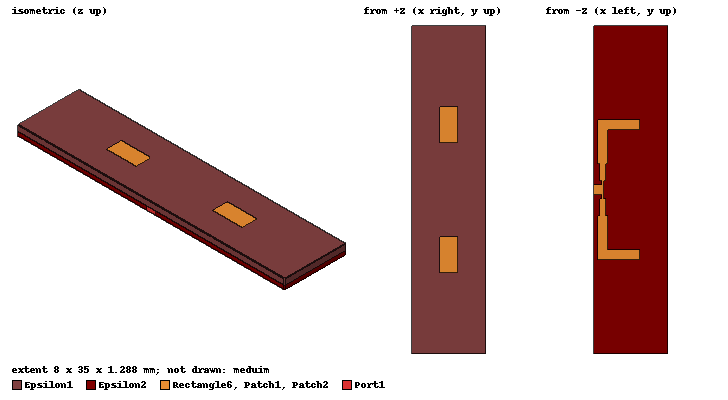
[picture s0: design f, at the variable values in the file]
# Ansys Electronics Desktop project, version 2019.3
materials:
  vacuum: permittivity=1
  Rogers RO3003 (tm): permittivity=3 dielectric_loss_tangent=0.0013
  FR4_epoxy: permittivity=4.4 dielectric_loss_tangent=0.02
  Rogers RO4350 (tm): permittivity=3.66 dielectric_loss_tangent=0.004
  air: permittivity=1.0006 permeability=1.0000004
  copper: permeability=0.999991 conductivity=58000000

design f (HFSS, DrivenModal, model units mm)
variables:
  SL = 5mm
  SLL = 10mm
  S = 5.77mm
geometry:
  Ground = rectangle(corner=((-8/2) mm, (-35/2) mm, 0.508mm), x_size=8mm, y_size=35mm)
  Slot = rectangle(corner=((-0.3/2) mm, -(SLL/2+0.75mm), 0.508mm), x_size=0.3mm, y_size=-2.4mm)
  Ground.subtract(Slot)
  Epsilon2 [Rogers RO4350 (tm)] = box(corner=((-8/2) mm, (-35/2) mm, 0mm), size=(8mm, 35mm, 0.508mm))
  Epsilon1 [Rogers RO4350 (tm)] = box(corner=((-8/2) mm, (-35/2) mm, 0.508mm), size=(8mm, 35mm, 0.78mm))
  Patch1 = rectangle(corner=((-1.96/2) mm, -SLL/2, (0.508+0.78) mm), x_size=1.96mm, y_size=-3.9mm)
  Port1 = rectangle(corner=((8/2) mm, (-1.09/2) mm, 0mm), y_size=1.09mm, z_size=0.508mm)
  meduim [air] = box(corner=((-10/2) mm, (-40/2) mm, (-5/2) mm), size=(10mm, 40mm, 5mm))
  Patch2 = rectangle(corner=((-1.96/2) mm, SLL/2, (0.508+0.78) mm), x_size=1.96mm, y_size=3.9mm)
  Slot1 = rectangle(corner=((-0.3/2) mm, SLL/2+0.75mm, 0.508mm), x_size=0.3mm, y_size=2.4mm)
  Ground.subtract(Slot1)
  feeding = rectangle(corner=((9.2/2-1.5) mm, (-1.112/2) mm, 0mm), x_size=0.9mm, y_size=1.112mm)
  split1 = rectangle(corner=((4.33-1.5) mm, 0mm, 0mm), x_size=0.277726mm, y_size=1mm)
  split2 = rectangle(corner=((4.33-1.5) mm, 0mm, 0mm), x_size=0.277726mm, y_size=-1mm)
  split2.unite(split1, feeding)
  Rectangle1 = rectangle(corner=((4.607726-1.5+0.604502/2-0.277726/2) mm, -1mm, 0mm), x_size=-0.604502mm, y_size=-1.744807mm)
  Rectangle2 = rectangle(corner=((9.2/2-1.5+0.604502/2-0.277726/2) mm, 1mm, 0mm), x_size=-0.604502mm, y_size=1.744807mm)
  Rectangle3 = rectangle(corner=((4.771114+0.302251-1.5) mm, -2.744807mm, 0mm), x_size=-1.11mm, y_size=-SLL/2+1.349807mm)
  Rectangle4 = rectangle(corner=((4.771114+0.302251-1.5) mm, 2.744807mm, 0mm), x_size=-1.11mm, y_size=SLL/2-1.349807mm)
  Rectangle5 = rectangle(corner=(5.073365mm-1.5mm, -(SLL/2+1.395mm), 0), x_size=(-5.073365-1.96/2+1.5) mm, y_size=-1.11mm)
  Rectangle6 = rectangle(corner=(5.073365mm-1.5mm, (SLL/2+1.395mm), 0), x_size=(-5.073365-1.96/2+1.5) mm, y_size=1.11mm)
  Rectangle6.unite(Rectangle5, Rectangle4, Rectangle3, Rectangle2, Rectangle1, split2)
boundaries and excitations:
  Rad1: Radiation Objects=meduim
  PerfE1: Perfect E Objects=Rectangle6
  PerfE2: Perfect E Objects=Patch1
  PerfE3: Perfect E Objects=Patch2
  PerfE4: Perfect E Objects=Ground
  1: Lumped Port Objects=Port1 Modes{Mode1{IntLine{middle of Port1.edge(z at corner) -> middle of Port1.edge(z opposite corner)} CharImp=Zpi RenormImp=50ohm}} Impedance=50ohm
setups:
  Setup2: HfssDriven Frequency=24.66GHz MaxDeltaS=0.02 MaximumPasses=20 MinimumPasses=1 MinimumConvergedPasses=1 PercentRefinement=30 BasisOrder=1 PortAccuracy=2
    sweep Sweep: 20GHz to 34GHz, 100 points; Type=Interpolating InterpTolerance=0.5 InterpMaxSolns=250 InterpUsePortImped=false PassivityErrorTolerance=0.0001
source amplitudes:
  1:1: 1W 0deg
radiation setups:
  Infinite Sphere1: Infinite Sphere Theta=0deg..180deg step 2deg Phi=-180deg..180deg step 2deg
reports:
  S Parameter Plot 1: dB(S(1,1)) vs Freq on Setup2 : Sweep [SLL=all]
  S Parameter Plot 2: dB(S(1,1)) vs Freq on Setup2 : Sweep [SLL=10mm]
  Gain Plot 1: GainTotal vs Phi, Theta on Setup2 : LastAdaptive, Infinite Sphere1 [Freq=24.66GHz]
  Gain Plot 2: dB(GainTotal) vs Phi, Theta on Setup2 : LastAdaptive, Infinite Sphere1 [Freq=24.66GHz]
  Gain Plot 3: dB10normalize(GainTotal) vs Phi, Theta on Setup2 : LastAdaptive, Infinite Sphere1 [Freq=24.66GHz]
